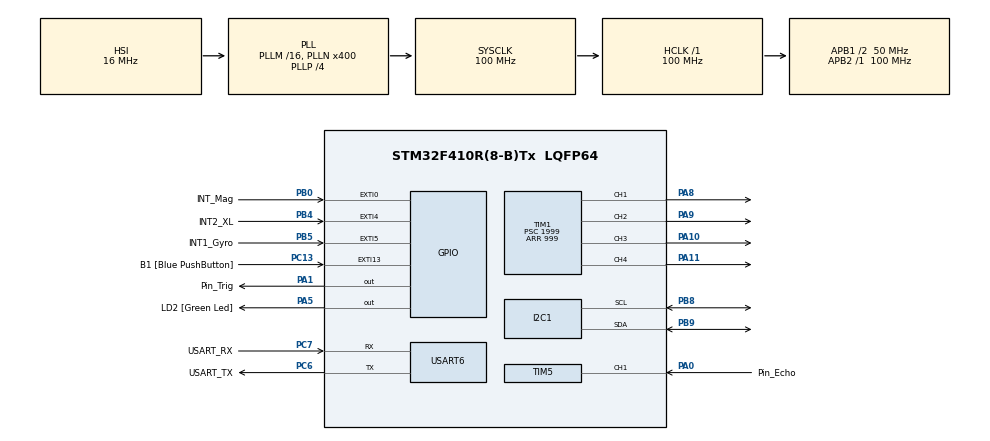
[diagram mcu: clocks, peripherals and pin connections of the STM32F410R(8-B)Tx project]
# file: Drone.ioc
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Dma.I2C1_RX.0.Direction=DMA_PERIPH_TO_MEMORY
Dma.I2C1_RX.0.FIFOMode=DMA_FIFOMODE_DISABLE
Dma.I2C1_RX.0.Instance=DMA1_Stream0
Dma.I2C1_RX.0.MemDataAlignment=DMA_MDATAALIGN_BYTE
Dma.I2C1_RX.0.MemInc=DMA_MINC_ENABLE
Dma.I2C1_RX.0.Mode=DMA_NORMAL
Dma.I2C1_RX.0.PeriphDataAlignment=DMA_PDATAALIGN_BYTE
Dma.I2C1_RX.0.PeriphInc=DMA_PINC_DISABLE
Dma.I2C1_RX.0.Priority=DMA_PRIORITY_HIGH
Dma.I2C1_TX.1.Direction=DMA_MEMORY_TO_PERIPH
Dma.I2C1_TX.1.FIFOMode=DMA_FIFOMODE_DISABLE
Dma.I2C1_TX.1.Instance=DMA1_Stream1
Dma.I2C1_TX.1.MemDataAlignment=DMA_MDATAALIGN_BYTE
Dma.I2C1_TX.1.MemInc=DMA_MINC_ENABLE
Dma.I2C1_TX.1.Mode=DMA_NORMAL
Dma.I2C1_TX.1.PeriphDataAlignment=DMA_PDATAALIGN_BYTE
Dma.I2C1_TX.1.PeriphInc=DMA_PINC_DISABLE
Dma.I2C1_TX.1.Priority=DMA_PRIORITY_HIGH
Dma.Request0=I2C1_RX
Dma.Request1=I2C1_TX
Dma.Request2=USART6_RX
Dma.Request3=USART6_TX
Dma.USART6_RX.2.Direction=DMA_PERIPH_TO_MEMORY
Dma.USART6_RX.2.FIFOMode=DMA_FIFOMODE_DISABLE
Dma.USART6_RX.2.Instance=DMA2_Stream1
Dma.USART6_RX.2.MemDataAlignment=DMA_MDATAALIGN_BYTE
Dma.USART6_RX.2.MemInc=DMA_MINC_ENABLE
Dma.USART6_RX.2.Mode=DMA_NORMAL
Dma.USART6_RX.2.PeriphDataAlignment=DMA_PDATAALIGN_BYTE
Dma.USART6_RX.2.PeriphInc=DMA_PINC_DISABLE
Dma.USART6_RX.2.Priority=DMA_PRIORITY_LOW
Dma.USART6_TX.3.Direction=DMA_MEMORY_TO_PERIPH
Dma.USART6_TX.3.FIFOMode=DMA_FIFOMODE_DISABLE
Dma.USART6_TX.3.Instance=DMA2_Stream6
Dma.USART6_TX.3.MemDataAlignment=DMA_MDATAALIGN_BYTE
Dma.USART6_TX.3.MemInc=DMA_MINC_ENABLE
Dma.USART6_TX.3.Mode=DMA_NORMAL
Dma.USART6_TX.3.PeriphDataAlignment=DMA_PDATAALIGN_BYTE
Dma.USART6_TX.3.PeriphInc=DMA_PINC_DISABLE
Dma.USART6_TX.3.Priority=DMA_PRIORITY_LOW
FREERTOS.Tasks01=defaultTask,0,128,StartDefaultTask,Default,NULL
I2C1.DutyCycle=I2C_DUTYCYCLE_2
I2C1.I2C_Mode=I2C_Fast
Mcu.Family=STM32F4
Mcu.Name=STM32F410R(8-B)Tx
Mcu.Package=LQFP64
NVIC.DMA1_Stream0_IRQn=true\:5\:0\:false\:false\:true\:true\:false
NVIC.DMA1_Stream1_IRQn=true\:5\:0\:false\:false\:true\:true\:false
NVIC.DMA2_Stream1_IRQn=true\:5\:0\:false\:false\:true\:true\:false
NVIC.DMA2_Stream6_IRQn=true\:5\:0\:false\:false\:true\:true\:false
NVIC.EXTI0_IRQn=true\:5\:0\:false\:false\:true\:true\:true
NVIC.EXTI15_10_IRQn=true\:5\:0\:true\:false\:true\:true\:true
NVIC.EXTI4_IRQn=true\:5\:0\:false\:false\:true\:true\:true
NVIC.EXTI9_5_IRQn=true\:5\:0\:false\:false\:true\:true\:true
NVIC.I2C1_ER_IRQn=true\:5\:0\:false\:false\:true\:true\:true
NVIC.I2C1_EV_IRQn=true\:5\:0\:false\:false\:true\:true\:true
NVIC.PriorityGroup=NVIC_PRIORITYGROUP_4
NVIC.TIM5_IRQn=true\:5\:0\:false\:false\:true\:true\:true
NVIC.USART6_IRQn=true\:5\:0\:false\:false\:true\:true\:true
PA0-WKUP.GPIO_Label=Pin_Echo
PA0-WKUP.Signal=S_TIM5_CH1
PA1.GPIO_Label=Pin_Trig
PA1.Signal=GPIO_Output
PA10.Signal=S_TIM1_CH3
PA11.Signal=S_TIM1_CH4
PA13.GPIO_Label=TMS
PA13.Mode=Serial_Wire
PA13.Signal=SYS_JTMS-SWDIO
PA14.GPIO_Label=TCK
PA14.Mode=Serial_Wire
PA14.Signal=SYS_JTCK-SWCLK
PA5.GPIO_Label=LD2 [Green Led]
PA5.Signal=GPIO_Output
PA8.Signal=S_TIM1_CH1
PA9.Signal=S_TIM1_CH2
PB0.GPIO_Label=INT_Mag
PB0.Signal=GPXTI0
PB3.GPIO_Label=SWO
PB3.Signal=SYS_JTDO-SWO
PB4.GPIO_Label=INT2_XL
PB4.Signal=GPXTI4
PB5.GPIO_Label=INT1_Gyro
PB5.Signal=GPXTI5
PB8.GPIO_PuPdOD=GPIO_NOPULL
PB8.Mode=I2C
PB8.Signal=I2C1_SCL
PB9.GPIO_PuPdOD=GPIO_NOPULL
PB9.Mode=I2C
PB9.Signal=I2C1_SDA
PC13-ANTI_TAMP.GPIO_Label=B1 [Blue PushButton]
PC13-ANTI_TAMP.GPIO_ModeDefaultEXTI=GPIO_MODE_IT_FALLING
PC13-ANTI_TAMP.Signal=GPXTI13
PC14-OSC32_IN.Mode=LSE-External-Oscillator
PC14-OSC32_IN.Signal=RCC_OSC32_IN
PC15-OSC32_OUT.Mode=LSE-External-Oscillator
PC15-OSC32_OUT.Signal=RCC_OSC32_OUT
PC6.GPIO_Label=USART_TX
PC6.Mode=Asynchronous
PC6.Signal=USART6_TX
PC7.GPIO_Label=USART_RX
PC7.Mode=Asynchronous
PC7.Signal=USART6_RX
PH0\ -\ OSC_IN.Mode=HSE-External-Clock-Source
PH0\ -\ OSC_IN.Signal=RCC_OSC_IN
PH1\ -\ OSC_OUT.Mode=HSE-External-Clock-Source
PH1\ -\ OSC_OUT.Signal=RCC_OSC_OUT
ProjectManager.HeapSize=0x200
ProjectManager.StackSize=0x400
ProjectManager.TargetToolchain=Other Toolchains (GPDSC)
RCC.48MHZClocksFreq_Value=44444444.44444445
RCC.AHBFreq_Value=100000000
RCC.APB1CLKDivider=RCC_HCLK_DIV2
RCC.APB1Freq_Value=50000000
RCC.APB1TimFreq_Value=100000000
RCC.APB2Freq_Value=100000000
RCC.APB2TimFreq_Value=100000000
RCC.CortexFreq_Value=100000000
RCC.FLatency-AdvancedSettings=FLASH_LATENCY_3
RCC.HCLKFreq_Value=100000000
RCC.HSE_VALUE=8000000
RCC.HSI_VALUE=16000000
RCC.PLLN=400
RCC.PLLP=RCC_PLLP_DIV4
RCC.PLLQ=9
RCC.PLLR=4
RCC.SYSCLKFreq_VALUE=100000000
RCC.SYSCLKSource=RCC_SYSCLKSOURCE_PLLCLK
RCC.VCOOutputFreq_Value=400000000
SH.S_TIM1_CH1.0=TIM1_CH1,PWM Generation1 CH1
SH.S_TIM1_CH2.0=TIM1_CH2,PWM Generation2 CH2
SH.S_TIM1_CH3.0=TIM1_CH3,PWM Generation3 CH3
SH.S_TIM1_CH4.0=TIM1_CH4,PWM Generation4 CH4
SH.S_TIM5_CH1.0=TIM5_CH1,Input_Capture1_from_TI1
TIM1.Channel-PWM\ Generation1\ CH1=TIM_CHANNEL_1
TIM1.Channel-PWM\ Generation2\ CH2=TIM_CHANNEL_2
TIM1.Channel-PWM\ Generation3\ CH3=TIM_CHANNEL_3
TIM1.Channel-PWM\ Generation4\ CH4=TIM_CHANNEL_4
TIM1.Period=999
TIM1.Prescaler=1999
TIM1.Pulse-PWM\ Generation1\ CH1=5
TIM1.Pulse-PWM\ Generation2\ CH2=6
TIM1.Pulse-PWM\ Generation3\ CH3=7
TIM1.Pulse-PWM\ Generation4\ CH4=8
TIM5.Channel-Input_Capture1_from_TI1=TIM_CHANNEL_1
TIM5.ICFilter_CH1=15
TIM5.ICPolarity_CH1=TIM_INPUTCHANNELPOLARITY_BOTHEDGE
TIM5.Period=4294967295
TIM5.Prescaler=100
USART6.VirtualMode=VM_ASYNC
VP_FREERTOS_VS_ENABLE.Mode=Enabled
VP_TIM1_VS_ClockSourceINT.Mode=Internal
board=NUCLEO-F410RB

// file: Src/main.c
#include "main.h"
#include "stm32f4xx_hal.h"

/* USER CODE BEGIN Includes */
#include "FreeRTOS.h"
#include "task.h"
#include "queue.h"
#include "semphr.h"
#include "timers.h"

#include "LSM303AGR/LSM303AGR.h"
#include "LSM6DSL/LSM6DSL.h"
#include "HCSR04/HCSR04.h"
/* USER CODE END Includes */

I2C_HandleTypeDef hi2c1;
DMA_HandleTypeDef hdma_i2c1_rx;
DMA_HandleTypeDef hdma_i2c1_tx;

TIM_HandleTypeDef htim1;
TIM_HandleTypeDef htim5;

UART_HandleTypeDef huart6;
DMA_HandleTypeDef hdma_usart6_rx;
DMA_HandleTypeDef hdma_usart6_tx;

/* USER CODE BEGIN PV */
/* FreeRTOS */
#define NUM_TASKS 7
#define FREERTOS_IDLE_CALLBACK
TaskHandle_t taskHandles[NUM_TASKS];

/* Variáveis referentes ao LSM6DSL */
extern LSM6DSL_PackType		LSM6DSL_Pack;

HCSR04_PackType HCSR04_Pack;

/* Buffer de Envio da UART */
uint8_t uartStream[48];
uint8_t uartThrottle[8];

/* Contadores Input Capture */
unsigned long ulCount1, ulCount2, ulDataHCSR04;

/* Flag se o Chip Foi Configurado */
extern LSM6DSLStatus_t stateLSM6DSL;

/* TaskHandles */
#define	tMain			0
#define	tInitLSM6DSL	1
#define	tReadLSM6DSL	2
#define tReadHCSR04		3
#define	tPack			4
#define	tSetPWM			5
#define tInitESC		6

/* TaskNotify */
#define MSG_LSM6DSL_X 	0x01
#define MSG_LSM6DSL_G 	0x02
#define MSG_PACK 		0x04
#define MSG_SETPWM		0x08
#define MSG_HCSR04_H	0x01
#define MSG_HCSR04_L	0x02

/* USER CODE END PV */

void SystemClock_Config(void);

static void MX_GPIO_Init(void);
static void MX_DMA_Init(void);
static void MX_I2C1_Init(void);
static void MX_TIM1_Init(void);
static void MX_USART6_UART_Init(void);
static void MX_TIM5_Init(void);

void HAL_TIM_MspPostInit(TIM_HandleTypeDef *htim);

/* USER CODE BEGIN PFP */
static void vMain(void *pvParameters);
static void vInitLSM6DSL(void *pvParameters);
static void vReadLSM6DSL(void *pvParameters);
static void vReadHCSR04(void *pvParameters);
static void vPack(void *pvParameters);
static void vSetPWM(void *pvParameters);
static void vInitESC(void *pvParameters);
/* USER CODE END PFP */

int main(void)
{
	HAL_Init();

	SystemClock_Config();

	MX_GPIO_Init();
	MX_DMA_Init();
	MX_I2C1_Init();
	MX_TIM1_Init();
	MX_USART6_UART_Init();
	MX_TIM5_Init();

	/* USER CODE BEGIN 2 */
	xTaskCreate(vMain, "MAIN_TASK", configMINIMAL_STACK_SIZE, NULL, 0, &taskHandles[tMain]);
	vTaskStartScheduler();
	/* USER CODE END 2 */
}

void SystemClock_Config(void)
{

	RCC_OscInitTypeDef RCC_OscInitStruct;
	RCC_ClkInitTypeDef RCC_ClkInitStruct;

	/**Configure the main internal regulator output voltage
	*/
	__HAL_RCC_PWR_CLK_ENABLE();

	__HAL_PWR_VOLTAGESCALING_CONFIG(PWR_REGULATOR_VOLTAGE_SCALE1);

	/**Initializes the CPU, AHB and APB busses clocks
	*/
	RCC_OscInitStruct.OscillatorType = RCC_OSCILLATORTYPE_HSI;
	RCC_OscInitStruct.HSIState = RCC_HSI_ON;
	RCC_OscInitStruct.HSICalibrationValue = 16;
	RCC_OscInitStruct.PLL.PLLState = RCC_PLL_ON;
	RCC_OscInitStruct.PLL.PLLSource = RCC_PLLSOURCE_HSI;
	RCC_OscInitStruct.PLL.PLLM = 16;
	RCC_OscInitStruct.PLL.PLLN = 400;
	RCC_OscInitStruct.PLL.PLLP = RCC_PLLP_DIV4;
	RCC_OscInitStruct.PLL.PLLQ = 9;
	RCC_OscInitStruct.PLL.PLLR = 4;
	if (HAL_RCC_OscConfig(&RCC_OscInitStruct) != HAL_OK)
	{
		_Error_Handler(__FILE__, __LINE__);
	}

	/**Initializes the CPU, AHB and APB busses clocks
	*/
	RCC_ClkInitStruct.ClockType = RCC_CLOCKTYPE_HCLK | RCC_CLOCKTYPE_SYSCLK
	                            | RCC_CLOCKTYPE_PCLK1 | RCC_CLOCKTYPE_PCLK2;
	RCC_ClkInitStruct.SYSCLKSource = RCC_SYSCLKSOURCE_PLLCLK;
	RCC_ClkInitStruct.AHBCLKDivider = RCC_SYSCLK_DIV1;
	RCC_ClkInitStruct.APB1CLKDivider = RCC_HCLK_DIV2;
	RCC_ClkInitStruct.APB2CLKDivider = RCC_HCLK_DIV1;

	if (HAL_RCC_ClockConfig(&RCC_ClkInitStruct, FLASH_LATENCY_3) != HAL_OK)
	{
		_Error_Handler(__FILE__, __LINE__);
	}

	/**Configure the Systick interrupt time
	*/
	HAL_SYSTICK_Config(HAL_RCC_GetHCLKFreq() / 1000);

	/**Configure the Systick
	*/
	HAL_SYSTICK_CLKSourceConfig(SYSTICK_CLKSOURCE_HCLK);

	/* SysTick_IRQn interrupt configuration */
	HAL_NVIC_SetPriority(SysTick_IRQn, 15, 0);
}

static void MX_I2C1_Init(void)
{

	hi2c1.Instance = I2C1;
	hi2c1.Init.ClockSpeed = 400000;
	hi2c1.Init.DutyCycle = I2C_DUTYCYCLE_2;
	hi2c1.Init.OwnAddress1 = 0;
	hi2c1.Init.AddressingMode = I2C_ADDRESSINGMODE_7BIT;
	hi2c1.Init.DualAddressMode = I2C_DUALADDRESS_DISABLE;
	hi2c1.Init.OwnAddress2 = 0;
	hi2c1.Init.GeneralCallMode = I2C_GENERALCALL_DISABLE;
	hi2c1.Init.NoStretchMode = I2C_NOSTRETCH_DISABLE;
	if (HAL_I2C_Init(&hi2c1) != HAL_OK)
	{
		_Error_Handler(__FILE__, __LINE__);
	}

}

static void MX_TIM1_Init(void)
{

	TIM_ClockConfigTypeDef sClockSourceConfig;
	TIM_MasterConfigTypeDef sMasterConfig;
	TIM_OC_InitTypeDef sConfigOC;
	TIM_BreakDeadTimeConfigTypeDef sBreakDeadTimeConfig;

	htim1.Instance = TIM1;
	htim1.Init.Prescaler = 1999;
	htim1.Init.CounterMode = TIM_COUNTERMODE_UP;
	htim1.Init.Period = 999;
	htim1.Init.ClockDivision = TIM_CLOCKDIVISION_DIV1;
	htim1.Init.RepetitionCounter = 0;
	if (HAL_TIM_Base_Init(&htim1) != HAL_OK)
	{
		_Error_Handler(__FILE__, __LINE__);
	}

	sClockSourceConfig.ClockSource = TIM_CLOCKSOURCE_INTERNAL;
	if (HAL_TIM_ConfigClockSource(&htim1, &sClockSourceConfig) != HAL_OK)
	{
		_Error_Handler(__FILE__, __LINE__);
	}

	if (HAL_TIM_PWM_Init(&htim1) != HAL_OK)
	{
		_Error_Handler(__FILE__, __LINE__);
	}

	sMasterConfig.MasterOutputTrigger = TIM_TRGO_RESET;
	sMasterConfig.MasterSlaveMode = TIM_MASTERSLAVEMODE_DISABLE;
	if (HAL_TIMEx_MasterConfigSynchronization(&htim1, &sMasterConfig) != HAL_OK)
	{
		_Error_Handler(__FILE__, __LINE__);
	}

	sConfigOC.OCMode = TIM_OCMODE_PWM1;
	sConfigOC.Pulse = 5;
	sConfigOC.OCPolarity = TIM_OCPOLARITY_HIGH;
	sConfigOC.OCNPolarity = TIM_OCNPOLARITY_HIGH;
	sConfigOC.OCFastMode = TIM_OCFAST_DISABLE;
	sConfigOC.OCIdleState = TIM_OCIDLESTATE_RESET;
	sConfigOC.OCNIdleState = TIM_OCNIDLESTATE_RESET;
	if (HAL_TIM_PWM_ConfigChannel(&htim1, &sConfigOC, TIM_CHANNEL_1) != HAL_OK)
	{
		_Error_Handler(__FILE__, __LINE__);
	}

	sConfigOC.Pulse = 6;
	if (HAL_TIM_PWM_ConfigChannel(&htim1, &sConfigOC, TIM_CHANNEL_2) != HAL_OK)
	{
		_Error_Handler(__FILE__, __LINE__);
	}

	sConfigOC.Pulse = 7;
	if (HAL_TIM_PWM_ConfigChannel(&htim1, &sConfigOC, TIM_CHANNEL_3) != HAL_OK)
	{
		_Error_Handler(__FILE__, __LINE__);
	}

	sConfigOC.Pulse = 8;
	if (HAL_TIM_PWM_ConfigChannel(&htim1, &sConfigOC, TIM_CHANNEL_4) != HAL_OK)
	{
		_Error_Handler(__FILE__, __LINE__);
	}

	sBreakDeadTimeConfig.OffStateRunMode = TIM_OSSR_DISABLE;
	sBreakDeadTimeConfig.OffStateIDLEMode = TIM_OSSI_DISABLE;
	sBreakDeadTimeConfig.LockLevel = TIM_LOCKLEVEL_OFF;
	sBreakDeadTimeConfig.DeadTime = 0;
	sBreakDeadTimeConfig.BreakState = TIM_BREAK_DISABLE;
	sBreakDeadTimeConfig.BreakPolarity = TIM_BREAKPOLARITY_HIGH;
	sBreakDeadTimeConfig.AutomaticOutput = TIM_AUTOMATICOUTPUT_DISABLE;
	if (HAL_TIMEx_ConfigBreakDeadTime(&htim1, &sBreakDeadTimeConfig) != HAL_OK)
	{
		_Error_Handler(__FILE__, __LINE__);
	}

	HAL_TIM_MspPostInit(&htim1);

}

static void MX_TIM5_Init(void)
{

	TIM_MasterConfigTypeDef sMasterConfig;
	TIM_IC_InitTypeDef sConfigIC;

	htim5.Instance = TIM5;
	htim5.Init.Prescaler = 100;
	htim5.Init.CounterMode = TIM_COUNTERMODE_UP;
	htim5.Init.Period = 4294967295;
	htim5.Init.ClockDivision = TIM_CLOCKDIVISION_DIV1;
	if (HAL_TIM_IC_Init(&htim5) != HAL_OK)
	{
		_Error_Handler(__FILE__, __LINE__);
	}

	sMasterConfig.MasterOutputTrigger = TIM_TRGO_RESET;
	sMasterConfig.MasterSlaveMode = TIM_MASTERSLAVEMODE_DISABLE;
	if (HAL_TIMEx_MasterConfigSynchronization(&htim5, &sMasterConfig) != HAL_OK)
	{
		_Error_Handler(__FILE__, __LINE__);
	}

	sConfigIC.ICPolarity = TIM_INPUTCHANNELPOLARITY_BOTHEDGE;
	sConfigIC.ICSelection = TIM_ICSELECTION_DIRECTTI;
	sConfigIC.ICPrescaler = TIM_ICPSC_DIV1;
	sConfigIC.ICFilter = 15;
	if (HAL_TIM_IC_ConfigChannel(&htim5, &sConfigIC, TIM_CHANNEL_1) != HAL_OK)
	{
		_Error_Handler(__FILE__, __LINE__);
	}

}

static void MX_USART6_UART_Init(void)
{

	huart6.Instance = USART6;
	huart6.Init.BaudRate = 115200;
	huart6.Init.WordLength = UART_WORDLENGTH_8B;
	huart6.Init.StopBits = UART_STOPBITS_1;
	huart6.Init.Parity = UART_PARITY_NONE;
	huart6.Init.Mode = UART_MODE_TX_RX;
	huart6.Init.HwFlowCtl = UART_HWCONTROL_NONE;
	huart6.Init.OverSampling = UART_OVERSAMPLING_16;
	if (HAL_UART_Init(&huart6) != HAL_OK)
	{
		_Error_Handler(__FILE__, __LINE__);
	}

}

static void MX_DMA_Init(void)
{
	/* DMA controller clock enable */
	__HAL_RCC_DMA1_CLK_ENABLE();
	__HAL_RCC_DMA2_CLK_ENABLE();

	/* DMA interrupt init */
	/* DMA1_Stream0_IRQn interrupt configuration */
	HAL_NVIC_SetPriority(DMA1_Stream0_IRQn, 5, 0);
	HAL_NVIC_EnableIRQ(DMA1_Stream0_IRQn);
	/* DMA1_Stream1_IRQn interrupt configuration */
	HAL_NVIC_SetPriority(DMA1_Stream1_IRQn, 5, 0);
	HAL_NVIC_EnableIRQ(DMA1_Stream1_IRQn);
	/* DMA2_Stream1_IRQn interrupt configuration */
	HAL_NVIC_SetPriority(DMA2_Stream1_IRQn, 5, 0);
	HAL_NVIC_EnableIRQ(DMA2_Stream1_IRQn);
	/* DMA2_Stream6_IRQn interrupt configuration */
	HAL_NVIC_SetPriority(DMA2_Stream6_IRQn, 5, 0);
	HAL_NVIC_EnableIRQ(DMA2_Stream6_IRQn);

}

static void MX_GPIO_Init(void)
{

	GPIO_InitTypeDef GPIO_InitStruct;

	/* GPIO Ports Clock Enable */
	__HAL_RCC_GPIOC_CLK_ENABLE();
	__HAL_RCC_GPIOH_CLK_ENABLE();
	__HAL_RCC_GPIOA_CLK_ENABLE();
	__HAL_RCC_GPIOB_CLK_ENABLE();

	/*Configure GPIO pin Output Level */
	HAL_GPIO_WritePin(GPIOA, Pin_Trig_Pin | LD2_Pin, GPIO_PIN_RESET);

	/*Configure GPIO pin : B1_Pin */
	GPIO_InitStruct.Pin = B1_Pin;
	GPIO_InitStruct.Mode = GPIO_MODE_IT_FALLING;
	GPIO_InitStruct.Pull = GPIO_NOPULL;
	HAL_GPIO_Init(B1_GPIO_Port, &GPIO_InitStruct);

	/*Configure GPIO pins : Pin_Trig_Pin LD2_Pin */
	GPIO_InitStruct.Pin = Pin_Trig_Pin | LD2_Pin;
	GPIO_InitStruct.Mode = GPIO_MODE_OUTPUT_PP;
	GPIO_InitStruct.Pull = GPIO_NOPULL;
	GPIO_InitStruct.Speed = GPIO_SPEED_FREQ_LOW;
	HAL_GPIO_Init(GPIOA, &GPIO_InitStruct);

	/*Configure GPIO pins : INT_Mag_Pin INT2_XL_Pin INT1_Gyro_Pin */
	GPIO_InitStruct.Pin = INT_Mag_Pin | INT2_XL_Pin | INT1_Gyro_Pin;
	GPIO_InitStruct.Mode = GPIO_MODE_IT_RISING;
	GPIO_InitStruct.Pull = GPIO_NOPULL;
	HAL_GPIO_Init(GPIOB, &GPIO_InitStruct);

	/* EXTI interrupt init*/
	HAL_NVIC_SetPriority(EXTI0_IRQn, 5, 0);
	HAL_NVIC_EnableIRQ(EXTI0_IRQn);

	HAL_NVIC_SetPriority(EXTI4_IRQn, 5, 0);
	HAL_NVIC_EnableIRQ(EXTI4_IRQn);

	HAL_NVIC_SetPriority(EXTI9_5_IRQn, 5, 0);
	HAL_NVIC_EnableIRQ(EXTI9_5_IRQn);

	HAL_NVIC_SetPriority(EXTI15_10_IRQn, 5, 0);
	HAL_NVIC_EnableIRQ(EXTI15_10_IRQn);

}

/* USER CODE BEGIN 4 */

/* --------------------------------- Task ------------------------------- */
static void vMain(void *pvParameters)
{
	unsigned long ulNotifiledMain;

	HAL_TIM_PWM_Start(&htim1, TIM_CHANNEL_1);
	HAL_TIM_PWM_Start(&htim1, TIM_CHANNEL_2);
	HAL_TIM_PWM_Start(&htim1, TIM_CHANNEL_3);
	HAL_TIM_PWM_Start(&htim1, TIM_CHANNEL_4);

	xTaskCreate(vInitLSM6DSL, "InitLSM6DSL", configMINIMAL_STACK_SIZE, NULL, 0, &taskHandles[tInitLSM6DSL]);
	HAL_Delay(100);
	xTaskCreate(vInitESC, "InitESC", configMINIMAL_STACK_SIZE, NULL, 0, &taskHandles[tInitESC]);

	xTaskCreate(vReadLSM6DSL, "ReadLSM6DSL", configMINIMAL_STACK_SIZE, NULL, 1, &taskHandles[tReadLSM6DSL]);
	xTaskCreate(vReadHCSR04, "ReadHCSR04", configMINIMAL_STACK_SIZE, NULL, 1, &taskHandles[tReadHCSR04]);
	xTaskCreate(vSetPWM, "SetPWM", configMINIMAL_STACK_SIZE, NULL, 2, &taskHandles[tSetPWM]);
	xTaskCreate(vPack, "Pack", configMINIMAL_STACK_SIZE, NULL, 3, &taskHandles[tPack]);

	HAL_TIM_IC_Start_IT(&htim5, TIM_CHANNEL_1);

	for (;;)
	{
		if (xTaskNotifyWait(0, 0, &ulNotifiledMain, portMAX_DELAY) == pdTRUE)
		{
			/* READ LSM6DSL + HCSR04 */
			if ((ulNotifiledMain & (MSG_LSM6DSL_X  | MSG_LSM6DSL_G)) != 0x00)
			{
				ulNotifiledMain -= (MSG_LSM6DSL_X  | MSG_LSM6DSL_G);
				vTaskResume(taskHandles[tReadLSM6DSL]);
				vTaskResume(taskHandles[tReadHCSR04]);
			}

			/* PACK UART */
			else if((ulNotifiledMain & MSG_PACK) != 0x00)
			{
				ulNotifiledMain -= MSG_PACK;
				vTaskResume(taskHandles[tPack]);
			}

			/* SET PWM */
			else if((ulNotifiledMain & MSG_SETPWM) != 0x00)
			{
				ulNotifiledMain -= MSG_SETPWM;
				vTaskResume(taskHandles[tSetPWM]);
			}
		}
	}
}

static void vInitLSM6DSL(void *pvParameters)
{
	for (;;)
	{
		initLSM6DSL();
		vTaskDelete(NULL);
	}
}

static void vInitESC(void *pvParameters)
{
	for (;;)
	{
		__HAL_TIM_SET_COMPARE(&htim1, TIM_CHANNEL_1, 100);
		__HAL_TIM_SET_COMPARE(&htim1, TIM_CHANNEL_2, 100);
		__HAL_TIM_SET_COMPARE(&htim1, TIM_CHANNEL_3, 100);
		__HAL_TIM_SET_COMPARE(&htim1, TIM_CHANNEL_4, 100);

		HAL_Delay(100);

		__HAL_TIM_SET_COMPARE(&htim1, TIM_CHANNEL_1, 50);
		__HAL_TIM_SET_COMPARE(&htim1, TIM_CHANNEL_2, 50);
		__HAL_TIM_SET_COMPARE(&htim1, TIM_CHANNEL_3, 50);
		__HAL_TIM_SET_COMPARE(&htim1, TIM_CHANNEL_4, 50);

		vTaskDelete(NULL);
	}
}

static void vReadLSM6DSL(void *pvParameters)
{
	vTaskSuspend(NULL);
	for (;;)
	{
		readLSM6DSL();
		vTaskSuspend(NULL);
	}
}

static void vReadHCSR04(void *pvParameters)
{
	unsigned long ulNotifiledRead;

	vTaskSuspend(NULL);
	for (;;)
	{
		BaseType_t xHigherPriorityTaskWoken;
		xHigherPriorityTaskWoken = pdFALSE;

		HAL_GPIO_WritePin(Pin_Trig_GPIO_Port, Pin_Trig_Pin, GPIO_PIN_RESET);
		HAL_Delay(2);
		HAL_GPIO_WritePin(Pin_Trig_GPIO_Port, Pin_Trig_Pin, GPIO_PIN_SET);
		HAL_Delay(10);
		HAL_GPIO_WritePin(Pin_Trig_GPIO_Port, Pin_Trig_Pin, GPIO_PIN_RESET);

		if (xTaskNotifyWait(0, 0xFF, &ulNotifiledRead, portMAX_DELAY) == pdTRUE)
		{
			if ((ulNotifiledRead & (MSG_HCSR04_H | MSG_HCSR04_L)) != 0x00)
			{
				ulDataHCSR04 = (ulCount2 - ulCount1) * 0.0001717 * 10000;
				HCSR04_Pack.HCSR04Stream[0] = ulDataHCSR04  & 0x000000FF;
				HCSR04_Pack.HCSR04Stream[1] = (ulDataHCSR04 & 0x0000FF00) >> 8;
				HCSR04_Pack.HCSR04Stream[2] = (ulDataHCSR04 & 0x00FF0000) >> 16;
				HCSR04_Pack.HCSR04Stream[3] = (ulDataHCSR04 & 0xFF000000) >> 24;

			}
			xTaskNotify(taskHandles[tMain], MSG_PACK, eSetValueWithOverwrite);
		}
		vTaskSuspend(NULL);
	}
}

static void vPack(void *pvParameters)
{
	vTaskSuspend(NULL);
	for (;;)
	{
		/* Variáveis temporárias para o Tratamento de Dado*/
		uint8_t i, tempData, hData1, hData2;

		/* Início da mensagem com @*/
		uartStream[0] = '@';

		/* Conversão dos Dados */
		for (i = 0; i < 45; ++i)
		{
			/* Seleção de Dados */
			if (i < 12)			tempData = LSM6DSL_Pack.LSM6DSLData.LSM6DSLStream[i]; /* LSM6DSL (G_XL) */
			//else if(i < 18)		tempData = 0; /* LSM303AGR (M) */
			else if(i < 16)		tempData = HCSR04_Pack.HCSR04Stream[i - 12]; /* HCSR04 (Altura) */
			else				tempData = 0; /* LSM6DSL (TimeStamp) */

			/* Separação dos nibbles */
			hData1 = (uint8_t)(tempData >> 4);
			hData2 = (uint8_t)(tempData & 0x0F);

			/* Conversão do Dado */
			(hData1 <= 9) ? (uartStream[2*i + 1] = hData1 + 0x30) : (hData1 <= 0x0F) ? (uartStream[2*i + 1] = (hData1 - 0x0A) + 0x41) : (uartStream[2*i + 1] = '*');
			(hData2 <= 9) ? (uartStream[2*i + 2] = hData2 + 0x30) : (hData2 <= 0x0F) ? (uartStream[2*i + 2] = (hData2 - 0x0A) + 0x41) : (uartStream[2*i + 2] = '*');
		}

		/* Monta Fim da mensagem */
		uartStream[45] = '\r';
		uartStream[46] = '\n';
		uartStream[47] = '\0';

		/* Envia mensagem pela UART2 */
		if (HAL_UART_Transmit_DMA(&huart6, uartStream, 48) != HAL_OK)
		{
			_Error_Handler(__FILE__, __LINE__);
		}

		vTaskSuspend(NULL);
	}
}

static void vSetPWM(void *pvParameters)
{
	float throttle[4];
	for (;;)
	{
		/* Converte valores de aceleração */
		throttle[0] = 50 + (uartThrottle[1] - 48) * 0.5;
		throttle[1] = 50 + (uartThrottle[2] - 48) * 0.5;
		throttle[2] = 50 + (uartThrottle[3] - 48) * 0.5;
		throttle[3] = 50 + (uartThrottle[4] - 48) * 0.5;

		__HAL_TIM_SET_COMPARE(&htim1, TIM_CHANNEL_1, throttle[0]);
		__HAL_TIM_SET_COMPARE(&htim1, TIM_CHANNEL_2, throttle[1]);
		__HAL_TIM_SET_COMPARE(&htim1, TIM_CHANNEL_3, throttle[2]);
		__HAL_TIM_SET_COMPARE(&htim1, TIM_CHANNEL_4, throttle[3]);

		if (HAL_UART_Receive_DMA(&huart6, uartThrottle, 8) != HAL_OK)
		{
			_Error_Handler(__FILE__, __LINE__);
		}

		vTaskSuspend(NULL);
	}
}

/* ------------------------------- Callbacks ------------------------------- */
void HAL_GPIO_EXTI_Callback(uint16_t GPIO_Pin)
{
	BaseType_t xHigherPriorityTaskWoken;
	xHigherPriorityTaskWoken = pdFALSE;

	if (stateLSM6DSL == LSM6DSL_On)
	{
		if (GPIO_Pin == INT2_XL_Pin)
		{
			xTaskNotifyFromISR(taskHandles[tMain], MSG_LSM6DSL_X, eSetBits, &xHigherPriorityTaskWoken);
		}
		if (GPIO_Pin == INT1_Gyro_Pin)
		{
			xTaskNotifyFromISR(taskHandles[tMain], MSG_LSM6DSL_G, eSetBits, &xHigherPriorityTaskWoken);
		}
	}
}

void HAL_TIM_IC_CaptureCallback(TIM_HandleTypeDef *htim)
{
	BaseType_t xHigherPriorityTaskWoken;
	xHigherPriorityTaskWoken = pdFALSE;

	if (htim->Instance == TIM5)
	{
		if (HAL_GPIO_ReadPin(GPIOA, Pin_Echo_Pin))
		{
			ulCount1 = __HAL_TIM_GetCompare(&htim5, TIM_CHANNEL_1);
			xTaskNotifyFromISR(taskHandles[tReadHCSR04], MSG_HCSR04_H, eSetBits, &xHigherPriorityTaskWoken);
		}

		else if (!HAL_GPIO_ReadPin(GPIOA, Pin_Echo_Pin))
		{
			ulCount2 = __HAL_TIM_GetCompare(&htim5, TIM_CHANNEL_1);
			xTaskNotifyFromISR(taskHandles[tReadHCSR04], MSG_HCSR04_L, eSetBits, &xHigherPriorityTaskWoken);
		}
	}
}

void HAL_UART_RxCpltCallback(UART_HandleTypeDef *huart)
{
	BaseType_t xHigherPriorityTaskWoken;
	xHigherPriorityTaskWoken = pdFALSE;

	HAL_GPIO_TogglePin(LD2_GPIO_Port, LD2_Pin);
	xTaskNotifyFromISR(taskHandles[tMain], 0x08, eSetValueWithOverwrite, &xHigherPriorityTaskWoken);
}

void HAL_UART_TxCpltCallback(UART_HandleTypeDef *huart)
{
	asm("nop");
}

/* ------------------------------- FreeRTOS ------------------------------- */
HAL_StatusTypeDef HAL_InitTick(uint32_t TickPriority)
{
	return HAL_OK;
}

uint32_t HAL_GetTick(void)
{
	return xTaskGetTickCount();
}

void HAL_Delay(__IO uint32_t Delay)
{
	vTaskDelay(Delay);
}

void vApplicationStackOverflowHook(TaskHandle_t pxTask, char *pcTaskName)
{
	(void)pcTaskName;
	(void)pxTask;

	__asm volatile
	(
		" bkpt #01                                                  \n"
		);

	while (1) ;
}

#if configSUPPORT_DYNAMIC_ALLOCATION == 1
void vApplicationMallocFailedHook()
{
	__asm volatile
	(
		" bkpt #01                                                  \n"
		);

	while (1) ;
}
#endif // configSUPPORT_DYNAMIC_ALLOCATION

#if ((configSUPPORT_DYNAMIC_ALLOCATION == 1) && (configUSE_TIMERS == 1))
uint16_t stacks[NUM_TASKS + 3];
#elif ((configSUPPORT_DYNAMIC_ALLOCATION == 1) || (configUSE_TIMERS == 1))
uint16_t stacks[NUM_TASKS + 2];
#else
uint16_t stacks[NUM_TASKS + 1];
#endif // configSUPPORT_DYNAMIC_ALLOCATION

#ifdef FREERTOS_IDLE_CALLBACK
__weak void freeRTOSIdleTaskCallback(void)
{
	// This function must be created by user...
}
#endif

void vApplicationIdleHook(void) // Utilizo a idle task para medir quando de memoria cada task esta consumindo em tempo de execucao. Para poder ajustar conforme a necessidade.
{
	static uint8_t cont = 0;
#if NUM_TASKS > 0
	uint8_t i;
#endif
	if (cont++ == 0)
	{
#if NUM_TASKS > 0
		for (i = 0; i < NUM_TASKS; i++)
		{
			if (taskHandles[i] != NULL)
				stacks[i] = uxTaskGetStackHighWaterMark(taskHandles[i]);
		}
#endif
		stacks[NUM_TASKS] = uxTaskGetStackHighWaterMark(NULL);

#if ((configSUPPORT_DYNAMIC_ALLOCATION == 1) && (configUSE_TIMERS == 1))
		stacks[NUM_TASKS + 1] = uxTaskGetStackHighWaterMark(xTimerGetTimerDaemonTaskHandle());
		stacks[NUM_TASKS + 2] = xPortGetFreeHeapSize();
#elif configSUPPORT_DYNAMIC_ALLOCATION == 1
		stacks[NUM_TASKS + 1] = xPortGetFreeHeapSize();
#elif configUSE_TIMERS == 1
		stacks[NUM_TASKS + 1] = uxTaskGetStackHighWaterMark(xTimerGetTimerDaemonTaskHandle());
#endif // configSUPPORT_DYNAMIC_ALLOCATION

		cont = 0;
	}

#ifdef FREERTOS_IDLE_CALLBACK
	freeRTOSIdleTaskCallback();
#endif
}
/* USER CODE END 4 */

void _Error_Handler(char *file, int line)
{
	while (1)
	{
	}
}

/************************ (C) COPYRIGHT STMicroelectronics *****END OF FILE****/
